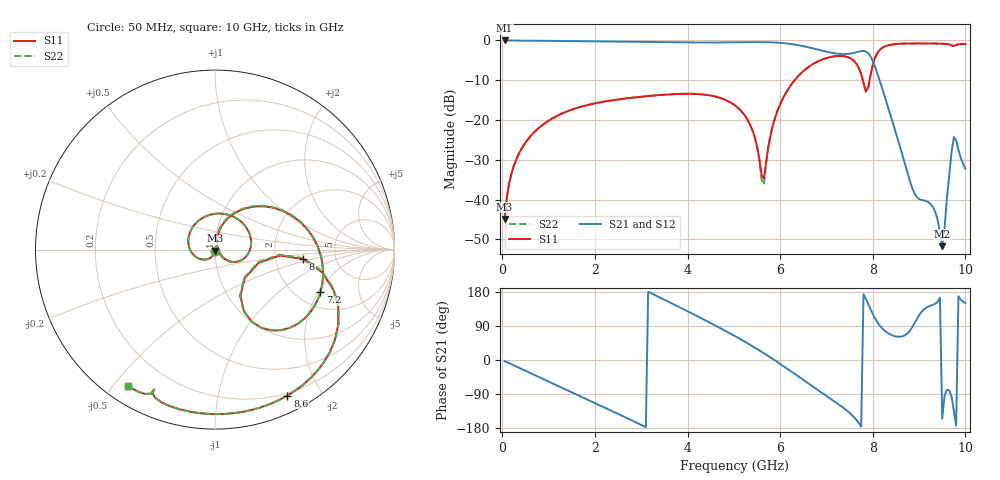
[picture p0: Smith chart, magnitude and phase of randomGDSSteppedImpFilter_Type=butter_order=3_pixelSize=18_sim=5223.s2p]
! freq	dB(S11)	phase(S11)	dB(S12)	phase(S12)
!  dB(S21)	phase(S21)	dB(S22)	phase(S22)
!S-par simulation data
#  GHz  S  DB  R 50
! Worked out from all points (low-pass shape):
!   200 points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, 50 MHz to 10 GHz, reference 50 ohm
!   highest |S21| = -0.01 dB at 50 MHz (marker M1); lowest = -51.7 dB at 9.5 GHz (marker M2)
!   |S21| within 3 dB of the highest: start of sweep to 7.068 GHz; 7.635 GHz to 7.878 GHz (243.2 MHz wide, 3.14 % of centre)
!   lowest |S11| = -44.9 dB at 50 MHz (marker M3), VSWR 1.01, Z = 50 - j0.569 ohm
!   |S11| at or under -10 dB: start of sweep to 6.313 GHz; 7.786 GHz to 7.93 GHz (144.8 MHz wide, 1.84 % of centre)
!   |S22| runs from -44.9 to -0.8 dB; largest |S21 - S12| = 0
!   S11 on the Smith chart (normalised r, x): 50 MHz: 1.00, -0.01; 7.2 GHz: 2.64, -2.10; 8 GHz: 2.89, -0.41; 8.6 GHz: 0.17, -1.60; 10 GHz: 0.07, -0.55
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0.05  -44.89 -85.9  -0.01 -2.9  -0.01 -2.9  -44.90 -85.5
0.2  -33.38 -100.2  -0.02 -11.4  -0.02 -11.4  -33.38 -100.2
0.5  -25.69 -118.8  -0.05 -28.4  -0.05 -28.4  -25.69 -118.8
1.75  -16.50 169.7  -0.22 -99.1  -0.22 -99.1  -16.51 169.8
2.65  -14.61 118.0  -0.34 -150.8  -0.34 -150.8  -14.61 118.1
3.4  -13.73 74.1  -0.44 165.1  -0.44 165.1  -13.73 74.1
4.3  -13.55 20.2  -0.52 110.1  -0.52 110.1  -13.55 20.1
5.05  -16.55 -25.6  -0.47 61.3  -0.47 61.3  -16.56 -26.3
5.4  -22.51 -43.1  -0.44 36.6  -0.44 36.6  -22.58 -45.1
5.65  -34.69 37.0  -0.44 17.8  -0.44 17.8  -36.20 41.2
5.95  -17.45 74.6  -0.57 -6.0  -0.57 -6.0  -17.48 76.2
6.7  -6.01 17.5  -1.98 -69.7  -1.98 -69.7  -6.01 18.0
7.2  -3.96 -22.0  -3.28 -111.5  -3.28 -111.5  -3.96 -21.7
7.75  -8.46 -64.8  -2.67 -175.7  -2.67 -175.7  -8.49 -65.0
7.85  -12.76 -44.1  -2.77 161.6  -2.77 161.6  -12.89 -44.1
8  -6.12 -6.2  -5.15 121.6  -5.15 121.6  -6.15 -5.6
8.35  -1.18 -46.1  -17.56 69.2  -17.56 69.2  -1.18 -45.8
8.6  -0.84 -63.6  -27.19 61.6  -27.19 61.6  -0.84 -63.3
9.35  -0.79 -99.2  -43.15 148.5  -43.15 148.5  -0.79 -99.0
9.5  -0.83 -105.4  -51.70 -155.0  -51.70 -155.0  -0.83 -105.2
9.75  -1.42 -113.6  -24.26 -134.1  -24.26 -134.1  -1.41 -113.4
10  -0.90 -122.5  -32.23 150.6  -32.23 150.6  -0.91 -122.4
